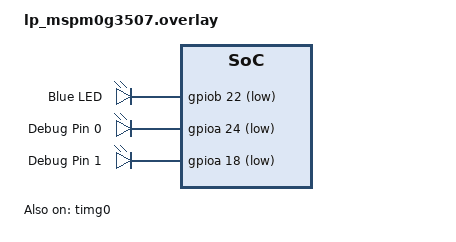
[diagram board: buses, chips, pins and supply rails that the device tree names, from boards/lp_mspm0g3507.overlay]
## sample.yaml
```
sample:
  name: Blinky Idle Power Management Sample
tests:
  sample.basic.blinky_idle_pm:
    tags:
      - LED
      - gpio
      - pm
    filter: dt_enabled_alias_with_parent_compat("led0", "gpio-leds")
    depends_on: gpio
    harness: led
    integration_platforms:
      - frdm_k64f
```

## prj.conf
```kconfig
CONFIG_GPIO=y
CONFIG_PM=y
CONFIG_PM_DEVICE=y
CONFIG_PM_DEVICE_RUNTIME=y
CONFIG_PM_DEVICE_RUNTIME_DEFAULT_ENABLE=y

# System-level idle PM
CONFIG_PM_POLICY_DEFAULT=y
CONFIG_IDLE_STACK_SIZE=256
CONFIG_SYSTEM_TIMER_LPM_COMPANION_COUNTER=y
CONFIG_COUNTER=y
CONFIG_PM_PREWAKEUP_CONV_MODE_CEIL=y
CONFIG_SYS_CLOCK_EXISTS=y
```

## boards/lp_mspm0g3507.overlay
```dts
/* SPDX-License-Identifier: Apache-2.0 */

/ {
	aliases {
		led0 = &led0;
	};

	chosen {
		zephyr,system-timer-companion = &counterg0;
	};

	leds {
		compatible = "gpio-leds";

		led0: led_0 {
			gpios = <&gpiob 22 GPIO_ACTIVE_LOW>;
			label = "Blue LED";
		};

		debug_pin: debug_pin_0 {
			gpios = <&gpioa 24 GPIO_ACTIVE_LOW>;
			label = "Debug Pin 0";
		};

		debug_pin_1: debug_pin_1 {
			gpios = <&gpioa 18 GPIO_ACTIVE_LOW>;
			label = "Debug Pin 1";
		};
	};
};

&gpioa {
	status = "okay";
};

&gpiob {
	status = "okay";
	zephyr,pm-device-runtime-auto;
};

&timg0 {
	status = "okay";

	counterg0 {
		status = "okay";
	};
};
```

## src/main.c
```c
/*
 * Copyright (c) 2016 Intel Corporation
 *
 * SPDX-License-Identifier: Apache-2.0
 */

#include <stdio.h>
#include <zephyr/kernel.h>
#include <zephyr/drivers/gpio.h>
#include <zephyr/drivers/clock_control/mspm0_clock_control.h>
#include <ti/driverlib/driverlib.h>

/* 1000 msec = 1 sec */
#define SLEEP_TIME_MS   1000

/* The devicetree node identifier for the "led0" alias. */
#define LED0_NODE DT_ALIAS(led0)

#define GPIO_CLKOUT_PIN                                           DL_GPIO_PIN_22
#define GPIO_CLKOUT_IOMUX                                        (IOMUX_PINCM47)
#define GPIO_CLKOUT_IOMUX_FUNC                   IOMUX_PINCM47_PF_SYSCTL_CLK_OUT
#define GPIO_CLKOUT_PORT                                                   GPIOA

/*
 * A build error on this line means your board is unsupported.
 * See the sample documentation for information on how to fix this.
 */
static const struct gpio_dt_spec led = GPIO_DT_SPEC_GET(LED0_NODE, gpios);
const struct gpio_dt_spec debug_pin = GPIO_DT_SPEC_GET(DT_NODELABEL(debug_pin), gpios);
const struct gpio_dt_spec debug_pin_1 = GPIO_DT_SPEC_GET(DT_NODELABEL(debug_pin_1), gpios);

int main(void)
{
	int ret;
	bool led_state = true;

	DL_GPIO_enablePower(GPIOA);
	delay_cycles(16);
	DL_GPIO_initPeripheralOutputFunction(
        GPIO_CLKOUT_IOMUX, GPIO_CLKOUT_IOMUX_FUNC);
    DL_GPIO_enableOutput(GPIO_CLKOUT_PORT, GPIO_CLKOUT_PIN);
	DL_SYSCTL_enableExternalClock(DL_SYSCTL_CLK_OUT_SOURCE_ULPCLK, DL_SYSCTL_CLK_OUT_DIVIDE_16);


	if (!gpio_is_ready_dt(&led)) {
		return 0;
	}

	ret = gpio_pin_configure_dt(&led, GPIO_OUTPUT_ACTIVE);
	gpio_pin_configure_dt(&debug_pin, GPIO_OUTPUT_ACTIVE);
	gpio_pin_configure_dt(&debug_pin_1, GPIO_OUTPUT_ACTIVE);
	if (ret < 0) {
		return 0;
	}

	while (1) {
		ret = gpio_pin_toggle_dt(&led);
		if (ret < 0) {
			return 0;
		}

		led_state = !led_state;
		printf("LED state: %s\n", led_state ? "ON" : "OFF");

		/* During this k_msleep(), the PM policy manager automatically
		 * selects an appropriate SoC sleep state and the system enters
		 * low-power mode. Timer interrupt wakes the system after 1000ms.
		 */
		k_msleep(SLEEP_TIME_MS);
	}
	return 0;
}
```
